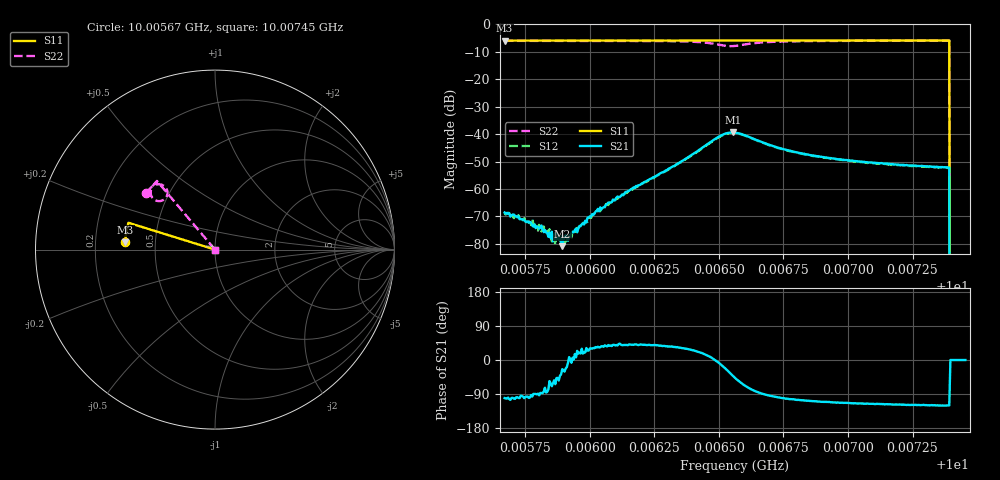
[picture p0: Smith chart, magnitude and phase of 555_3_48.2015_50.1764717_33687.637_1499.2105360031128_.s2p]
#  HZ  S  RI  R  50.00
! Rohde & Schwarz Vector Network Analyzer
! Rohde-Schwarz,ZNB20-2Port,1311601062101988,3.16
! Created: UTC 3/20/2024, 12:00:57 PM
! freq[Hz]  re:S11  im:S11  re:S21  im:S21  re:S12  im:S12  re:S22  im:S22
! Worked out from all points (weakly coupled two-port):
!   401 points, 10.00567 GHz to 10.00745 GHz, reference 50 ohm
!   highest |S21| = -39.42 dB at 10.00655 GHz (marker M1); lowest = -80.8 dB at 10.00589 GHz (marker M2)
!   lowest |S11| = -6.0 dB at 10.00567 GHz (marker M3), VSWR 3.01, Z = 16.6 + j1.77 ohm
!   |S11| at or under -10 dB: 10.00739 GHz to end of sweep
!   |S22| runs from - to -6.0 dB; largest |S21 - S12| = 0.00071
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1.000567e10  -0.5 0.0399  -6.78e-05 -0.000367  -4.32e-05 -0.000365  -0.3835 0.3163
1.0005773e10  -0.4996 0.0465  -9.78e-06 -0.000245  8.22e-06 -0.000221  -0.3787 0.3225
1.0005818e10  -0.4995 0.0496  8.36e-06 -0.000185  2.82e-05 -0.000188  -0.3763 0.3252
1.000584e10  -0.4994 0.0511  2.9e-05 -0.000132  6.67e-05 -0.000149  -0.3753 0.3267
1.0005858e10  -0.4993 0.0522  5.36e-05 -9.82e-05  5.46e-05 -0.000111  -0.3742 0.3277
1.0005871e10  -0.4991 0.0529  0.000115 -0.000126  8.18e-05 -0.00011  -0.3737 0.3286
1.0005884e10  -0.4991 0.054  9.27e-05 -8.34e-05  8.43e-05 -8.04e-05  -0.3728 0.3295
1.0005893e10  -0.499 0.0545  8.31e-05 -3.75e-05  0.000127 -6.46e-05  -0.3723 0.33
1.0005907e10  -0.4991 0.0552  0.000133 -5.53e-05  0.00011 -2.83e-05  -0.3716 0.3308
1.0005969e10  -0.4988 0.0593  0.000199 0.000113  0.000201 9.87e-05  -0.368 0.3349
1.0006032e10  -0.4983 0.0635  0.000357 0.000249  0.000335 0.000243  -0.3639 0.339
1.0006085e10  -0.4979 0.0669  0.000461 0.000345  0.000454 0.000417  -0.3602 0.3429
1.0006268e10  -0.4966 0.0788  0.00147 0.00114  0.00141 0.00117  -0.3414 0.3567
1.00065e10  -0.4937 0.0936  0.00892 -0.00115  0.00873 -0.000639  -0.2664 0.3294
1.0006554e10  -0.493 0.0964  0.00801 -0.00707  0.00827 -0.00647  -0.2848 0.2781
1.0006563e10  -0.493 0.0969  0.00721 -0.00778  0.00754 -0.0072  -0.2934 0.2735
1.0006737e10  -0.4919 0.1079  -0.000881 -0.00548  -0.000616 -0.00542  -0.3585 0.3214
1.0006861e10  -0.4904 0.116  -0.00129 -0.00387  -0.00112 -0.00387  -0.353 0.343
1.000716e10  -0.4863 0.135  -0.00129 -0.00256  -0.00113 -0.00259  -0.3359 0.369
1.0007383e10  -0.4826 0.149  -0.00124 -0.00217  -0.00111 -0.00215  -0.3238 0.3821
1.0007406e10  0 0  0 0  0 0  0 0
1.0007455e10  0 0  0 0  0 0  0 0
